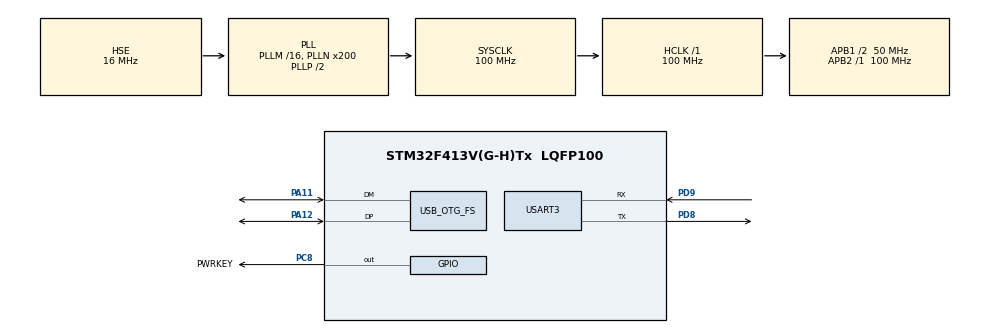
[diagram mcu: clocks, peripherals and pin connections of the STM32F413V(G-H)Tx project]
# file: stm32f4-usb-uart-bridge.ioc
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Mcu.Family=STM32F4
NVIC.USART3_IRQn=true\:0\:0\:false\:false\:false\:true\:false
Dma.USART3_RX.0.Instance=DMA1_Stream1
Dma.USART3_TX.1.MemDataAlignment=DMA_MDATAALIGN_BYTE
USB_DEVICE.CLASS_NAME_FS=CDC
Dma.USART3_RX.0.PeriphInc=DMA_PINC_DISABLE
RCC.CortexFreq_Value=100000000
USB_DEVICE.VirtualModeFS=Cdc_FS
Dma.USART3_TX.1.MemInc=DMA_MINC_ENABLE
Dma.USART3_TX.1.PeriphDataAlignment=DMA_PDATAALIGN_BYTE
PH1\ -\ OSC_OUT.Mode=HSE-External-Oscillator
PC8.Signal=GPIO_Output
PA11.Mode=Device_Only
PD9.Signal=USART3_RX
NVIC.DMA1_Stream1_IRQn=true\:0\:0\:false\:false\:true\:false\:true
Dma.USART3_TX.1.Instance=DMA1_Stream3
RCC.APB1CLKDivider=RCC_HCLK_DIV2
PD9.Mode=Asynchronous
RCC.SYSCLKSource=RCC_SYSCLKSOURCE_PLLCLK
ProjectManager.StackSize=0x800
Dma.USART3_RX.0.Mode=DMA_NORMAL
PC8.GPIO_Label=PWRKEY
PA13.Signal=SYS_JTMS-SWDIO
PA12.Signal=USB_OTG_FS_DP
PH0\ -\ OSC_IN.Mode=HSE-External-Oscillator
PH0\ -\ OSC_IN.Signal=RCC_OSC_IN
ProjectManager.TargetToolchain=STM32CubeIDE
RCC.HCLKFreq_Value=100000000
VP_USB_DEVICE_VS_USB_DEVICE_CDC_FS.Mode=CDC_FS
RCC.APB2TimFreq_Value=100000000
PD8.Signal=USART3_TX
RCC.USBFreq_Value=48000000
PD8.Mode=Asynchronous
RCC.AHBFreq_Value=100000000
RCC.USBCLockSelection=RCC_CLK48CLKSOURCE_PLLI2SQ
RCC.HSE_VALUE=16000000
Dma.USART3_RX.0.MemDataAlignment=DMA_MDATAALIGN_BYTE
PH1\ -\ OSC_OUT.Signal=RCC_OSC_OUT
PB3.Mode=Trace_Asynchronous_SW
board=custom
Dma.USART3_TX.1.Mode=DMA_NORMAL
RCC.VCOOutputFreq_Value=200000000
RCC.APB2Freq_Value=100000000
PA14.Mode=Trace_Asynchronous_SW
Dma.USART3_RX.0.PeriphDataAlignment=DMA_PDATAALIGN_BYTE
Dma.USART3_RX.0.FIFOMode=DMA_FIFOMODE_DISABLE
PA13.Mode=Trace_Asynchronous_SW
Mcu.Name=STM32F413V(G-H)Tx
Dma.USART3_TX.1.FIFOMode=DMA_FIFOMODE_DISABLE
Dma.USART3_TX.1.Priority=DMA_PRIORITY_LOW
PB3.Signal=SYS_JTDO-SWO
RCC.SYSCLKFreq_VALUE=100000000
Dma.USART3_RX.0.Direction=DMA_PERIPH_TO_MEMORY
Mcu.Package=LQFP100
Dma.USART3_RX.0.Priority=DMA_PRIORITY_LOW
PA12.Mode=Device_Only
USART3.VirtualMode=VM_ASYNC
NVIC.OTG_FS_IRQn=true\:0\:0\:false\:false\:true\:false\:true
PA11.Signal=USB_OTG_FS_DM
PA14.Signal=SYS_JTCK-SWCLK
USB_OTG_FS.VirtualMode=Device_Only
ProjectManager.HeapSize=0x200
Dma.USART3_RX.0.MemInc=DMA_MINC_ENABLE
NVIC.PriorityGroup=NVIC_PRIORITYGROUP_4
Dma.USART3_TX.1.Direction=DMA_MEMORY_TO_PERIPH
RCC.PLLN=200
Dma.Request1=USART3_TX
RCC.APB1TimFreq_Value=100000000
NVIC.DMA1_Stream3_IRQn=true\:0\:0\:false\:false\:true\:false\:true
Dma.USART3_TX.1.PeriphInc=DMA_PINC_DISABLE
Dma.Request0=USART3_RX
RCC.APB1Freq_Value=50000000
USB_DEVICE.VirtualMode=Cdc
RCC.PLLI2SQ=4

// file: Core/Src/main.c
/* USER CODE BEGIN Header */
/**
  ******************************************************************************
  * @file           : main.c
  * @brief          : Main program body
  ******************************************************************************
  * @attention
  *
  * <h2><center>&copy; Copyright (c) 2020 STMicroelectronics.
  * All rights reserved.</center></h2>
  *
  * This software component is licensed by ST under Ultimate Liberty license
  * SLA0044, the "License"; You may not use this file except in compliance with
  * the License. You may obtain a copy of the License at:
  *                             www.st.com/SLA0044
  *
  ******************************************************************************
  */
/* USER CODE END Header */
#include "main.h"
#include "usb_device.h"

/* USER CODE BEGIN Includes */
#include <stdbool.h>
/* USER CODE END Includes */

/* USER CODE BEGIN PTD */
#define USBD_P_PORT GPIOA
#define USBD_P_PIN  GPIO_PIN_12
/* USER CODE END PTD */

UART_HandleTypeDef huart3;
DMA_HandleTypeDef hdma_usart3_rx;
DMA_HandleTypeDef hdma_usart3_tx;

/* USER CODE BEGIN PV */
volatile bool pwr_key_must_push = false;
/* USER CODE END PV */

void SystemClock_Config(void);
static void MX_GPIO_Init(void);
static void MX_DMA_Init(void);
static void MX_USART3_UART_Init(void);
/* USER CODE BEGIN PFP */
static void _manual_push_disconnect(void);
/* USER CODE END PFP */

/* USER CODE BEGIN 0 */
static void _manual_push_disconnect(void)
{
    __HAL_RCC_GPIOA_CLK_ENABLE();

    GPIO_InitTypeDef GPIO_InitStruct;

    GPIO_InitStruct.Pin = USBD_P_PIN;
    GPIO_InitStruct.Mode = GPIO_MODE_OUTPUT_OD;
    GPIO_InitStruct.Speed = GPIO_SPEED_FREQ_LOW;
    GPIO_InitStruct.Pull = GPIO_NOPULL;
    HAL_GPIO_Init(USBD_P_PORT, &GPIO_InitStruct);

    HAL_GPIO_WritePin(USBD_P_PORT, USBD_P_PIN, GPIO_PIN_RESET);

    HAL_Delay(10);
}
/* USER CODE END 0 */

int main(void)
{

  /* MCU Configuration--------------------------------------------------------*/

  /* Reset of all peripherals, Initializes the Flash interface and the Systick. */
  HAL_Init();

  /* Configure the system clock */
  SystemClock_Config();

  /* USER CODE BEGIN SysInit */
  _manual_push_disconnect();
  /* USER CODE END SysInit */

  /* Initialize all configured peripherals */
  MX_GPIO_Init();
  MX_DMA_Init();
  MX_USART3_UART_Init();
  MX_USB_DEVICE_Init();

  /* Infinite loop */
  /* USER CODE BEGIN WHILE */
  for(;;)
  {
    if (pwr_key_must_push)
    {
      HAL_GPIO_WritePin(PWRKEY_GPIO_Port, PWRKEY_Pin, GPIO_PIN_SET);
      HAL_Delay(2500);
      HAL_GPIO_WritePin(PWRKEY_GPIO_Port, PWRKEY_Pin, GPIO_PIN_RESET);

      pwr_key_must_push = false;
    }
    /* USER CODE END WHILE */

  }
}

void SystemClock_Config(void)
{
  RCC_OscInitTypeDef RCC_OscInitStruct = {0};
  RCC_ClkInitTypeDef RCC_ClkInitStruct = {0};
  RCC_PeriphCLKInitTypeDef PeriphClkInitStruct = {0};

  /** Configure the main internal regulator output voltage
  */
  __HAL_RCC_PWR_CLK_ENABLE();
  __HAL_PWR_VOLTAGESCALING_CONFIG(PWR_REGULATOR_VOLTAGE_SCALE1);
  /** Initializes the RCC Oscillators according to the specified parameters
  * in the RCC_OscInitTypeDef structure.
  */
  RCC_OscInitStruct.OscillatorType = RCC_OSCILLATORTYPE_HSE;
  RCC_OscInitStruct.HSEState = RCC_HSE_ON;
  RCC_OscInitStruct.PLL.PLLState = RCC_PLL_ON;
  RCC_OscInitStruct.PLL.PLLSource = RCC_PLLSOURCE_HSE;
  RCC_OscInitStruct.PLL.PLLM = 16;
  RCC_OscInitStruct.PLL.PLLN = 200;
  RCC_OscInitStruct.PLL.PLLP = RCC_PLLP_DIV2;
  RCC_OscInitStruct.PLL.PLLQ = 2;
  RCC_OscInitStruct.PLL.PLLR = 2;
  if (HAL_RCC_OscConfig(&RCC_OscInitStruct) != HAL_OK)
  {
    Error_Handler();
  }
  /** Initializes the CPU, AHB and APB buses clocks
  */
  RCC_ClkInitStruct.ClockType = RCC_CLOCKTYPE_HCLK|RCC_CLOCKTYPE_SYSCLK
                              |RCC_CLOCKTYPE_PCLK1|RCC_CLOCKTYPE_PCLK2;
  RCC_ClkInitStruct.SYSCLKSource = RCC_SYSCLKSOURCE_PLLCLK;
  RCC_ClkInitStruct.AHBCLKDivider = RCC_SYSCLK_DIV1;
  RCC_ClkInitStruct.APB1CLKDivider = RCC_HCLK_DIV2;
  RCC_ClkInitStruct.APB2CLKDivider = RCC_HCLK_DIV1;

  if (HAL_RCC_ClockConfig(&RCC_ClkInitStruct, FLASH_LATENCY_3) != HAL_OK)
  {
    Error_Handler();
  }
  PeriphClkInitStruct.PeriphClockSelection = RCC_PERIPHCLK_CLK48;
  PeriphClkInitStruct.PLLI2S.PLLI2SN = 192;
  PeriphClkInitStruct.PLLI2S.PLLI2SM = 16;
  PeriphClkInitStruct.PLLI2S.PLLI2SR = 2;
  PeriphClkInitStruct.PLLI2S.PLLI2SQ = 4;
  PeriphClkInitStruct.Clk48ClockSelection = RCC_CLK48CLKSOURCE_PLLI2SQ;
  PeriphClkInitStruct.PLLI2SSelection = RCC_PLLI2SCLKSOURCE_PLLSRC;
  if (HAL_RCCEx_PeriphCLKConfig(&PeriphClkInitStruct) != HAL_OK)
  {
    Error_Handler();
  }
}

static void MX_USART3_UART_Init(void)
{

  huart3.Instance = USART3;
  huart3.Init.BaudRate = 115200;
  huart3.Init.WordLength = UART_WORDLENGTH_8B;
  huart3.Init.StopBits = UART_STOPBITS_1;
  huart3.Init.Parity = UART_PARITY_NONE;
  huart3.Init.Mode = UART_MODE_TX_RX;
  huart3.Init.HwFlowCtl = UART_HWCONTROL_NONE;
  huart3.Init.OverSampling = UART_OVERSAMPLING_16;
  if (HAL_UART_Init(&huart3) != HAL_OK)
  {
    Error_Handler();
  }

}

static void MX_DMA_Init(void)
{

  /* DMA controller clock enable */
  __HAL_RCC_DMA1_CLK_ENABLE();

  /* DMA interrupt init */
  /* DMA1_Stream1_IRQn interrupt configuration */
  HAL_NVIC_SetPriority(DMA1_Stream1_IRQn, 0, 0);
  HAL_NVIC_EnableIRQ(DMA1_Stream1_IRQn);
  /* DMA1_Stream3_IRQn interrupt configuration */
  HAL_NVIC_SetPriority(DMA1_Stream3_IRQn, 0, 0);
  HAL_NVIC_EnableIRQ(DMA1_Stream3_IRQn);

}

static void MX_GPIO_Init(void)
{
  GPIO_InitTypeDef GPIO_InitStruct = {0};

  /* GPIO Ports Clock Enable */
  __HAL_RCC_GPIOH_CLK_ENABLE();
  __HAL_RCC_GPIOD_CLK_ENABLE();
  __HAL_RCC_GPIOC_CLK_ENABLE();
  __HAL_RCC_GPIOA_CLK_ENABLE();
  __HAL_RCC_GPIOB_CLK_ENABLE();

  /*Configure GPIO pin Output Level */
  HAL_GPIO_WritePin(PWRKEY_GPIO_Port, PWRKEY_Pin, GPIO_PIN_RESET);

  /*Configure GPIO pin : PWRKEY_Pin */
  GPIO_InitStruct.Pin = PWRKEY_Pin;
  GPIO_InitStruct.Mode = GPIO_MODE_OUTPUT_PP;
  GPIO_InitStruct.Pull = GPIO_NOPULL;
  GPIO_InitStruct.Speed = GPIO_SPEED_FREQ_LOW;
  HAL_GPIO_Init(PWRKEY_GPIO_Port, &GPIO_InitStruct);

}

/* USER CODE BEGIN 4 */
void pwrkey_push(void)
{
  pwr_key_must_push = true;
}
/* USER CODE END 4 */

void Error_Handler(void)
{
}

/************************ (C) COPYRIGHT STMicroelectronics *****END OF FILE****/
